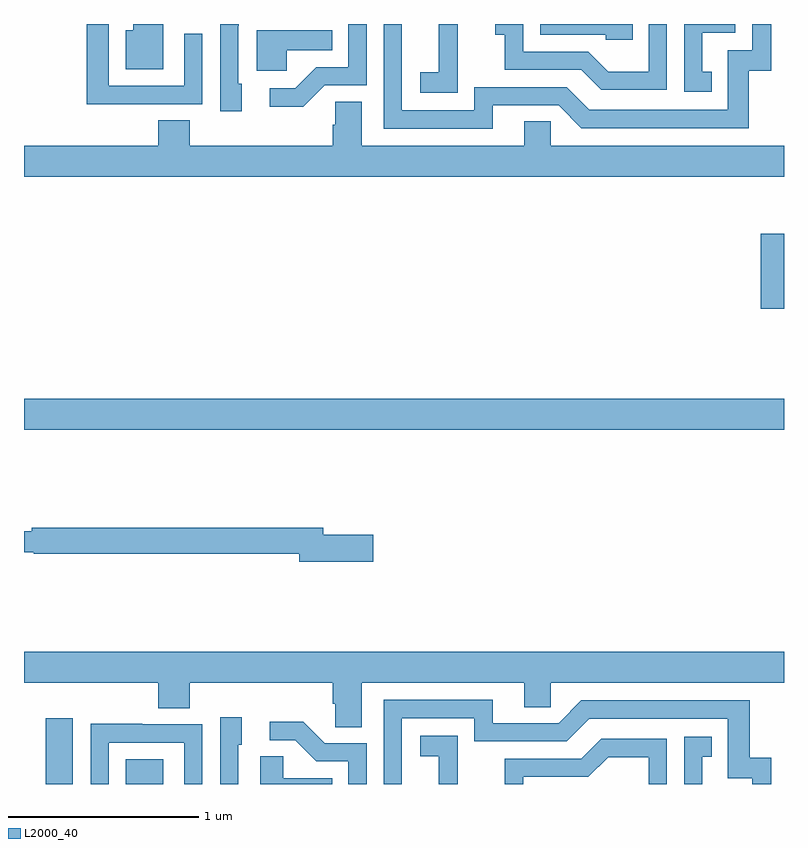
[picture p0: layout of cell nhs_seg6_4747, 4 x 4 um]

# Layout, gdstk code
import gdstk
lib = gdstk.Library(unit=1e-6, precision=1e-09)
def R(c, l, rs):  # rectangles x0, y0, x1, y1
    for r in rs: c.add(gdstk.rectangle(r[:2], r[2:], *l))
def P(c, l, *ps):  # polygons
    for p in ps: c.add(gdstk.Polygon(p, *l))
L2000_40 = (2000, 40)

nhs_seg6_4747 = lib.new_cell('nhs_seg6_4747')
R(nhs_seg6_4747, L2000_40, [(393.115,917.5,393.256,917.845), (393.536,917.5,393.733,917.629), (393,919.364,397,919.528), (396.878,920.001,397,920.395)])
P(nhs_seg6_4747, L2000_40, [(396.203,921.5),(395.718,921.5),(395.718,921.444),(396.063,921.444),(396.063,921.417),(396.203,921.417)],
  [(395.283,921.343),(395.282,921.343),(395.282,921.5),(395.184,921.5),(395.184,921.476),(395.183,921.476),(395.183,921.247),(395.085,921.247),(395.085,921.137),(395.283,921.137)],
  [(396.62,921.249),(396.571,921.249),(396.571,921.453),(396.744,921.453),(396.744,921.5),(396.474,921.5),(396.474,921.144),(396.62,921.144)],
  [(394.584,921.177),(394.803,921.177),(394.803,921.5),(394.707,921.5),(394.707,921.273),(394.538,921.273),(394.427,921.162),(394.293,921.162),(394.293,921.065),(394.471,921.065)],
  [(393.733,921.5),(393.575,921.5),(393.575,921.466),(393.536,921.466),(393.536,921.263),(393.733,921.263)],
  [(396.384,921.5),(396.288,921.5),(396.288,921.25),(396.074,921.25),(395.97,921.354),(395.628,921.354),(395.628,921.5),(395.481,921.5),(395.481,921.443),(395.53,921.443),(395.53,921.258),(395.933,921.258),(396.038,921.153),(396.384,921.153)],
  [(394.147,921.186),(394.128,921.186),(394.128,921.49),(394.129,921.49),(394.129,921.5),(394.032,921.5),(394.032,921.042),(394.147,921.042)],
  [(393.623,921.078),(393.939,921.078),(393.939,921.448),(393.843,921.448),(393.843,921.174),(393.447,921.174),(393.447,921.5),(393.331,921.5),(393.331,921.077),(393.623,921.077)],
  [(395.467,921.072),(395.814,921.072),(395.934,920.952),(396.814,920.952),(396.814,921.255),(396.932,921.255),(396.932,921.5),(396.834,921.5),(396.834,921.363),(396.705,921.363),(396.705,921.048),(395.976,921.048),(395.856,921.168),(395.37,921.168),(395.37,921.045),(394.989,921.045),(394.989,921.5),(394.893,921.5),(394.893,920.949),(395.467,920.949)],
  [(394.383,921.362),(394.622,921.362),(394.622,921.466),(394.226,921.466),(394.226,921.254),(394.383,921.254)],
  [(397,920.86),(395.772,920.86),(395.772,920.987),(395.633,920.987),(395.633,920.86),(394.777,920.86),(394.777,921.092),(394.638,921.092),(394.638,920.969),(394.625,920.969),(394.625,920.86),(393.872,920.86),(393.872,920.993),(393.707,920.993),(393.707,920.86),(393,920.86),(393,920.696),(397,920.696)],
  [(394.837,918.812),(394.576,918.812),(394.576,918.848),(393.04,918.848),(393.04,918.829),(393,918.829),(393,918.72),(393.052,918.72),(393.052,918.712),(394.448,918.712),(394.448,918.67),(394.837,918.67)],
  [(394.777,918.032),(395.633,918.032),(395.633,917.905),(395.772,917.905),(395.772,918.032),(397,918.032),(397,918.196),(393,918.196),(393,918.032),(393.707,918.032),(393.707,917.899),(393.872,917.899),(393.872,918.032),(394.625,918.032),(394.625,917.923),(394.638,917.923),(394.638,917.8),(394.777,917.8)],
  [(394.989,917.847),(395.37,917.847),(395.37,917.724),(395.856,917.724),(395.976,917.844),(396.705,917.844),(396.705,917.529),(396.834,917.529),(396.834,917.5),(396.932,917.5),(396.932,917.638),(396.821,917.638),(396.821,917.94),(395.934,917.94),(395.814,917.82),(395.467,917.82),(395.467,917.943),(394.893,917.943),(394.893,917.5),(394.989,917.5)],
  [(394.128,917.706),(394.147,917.706),(394.147,917.851),(394.032,917.851),(394.032,917.5),(394.128,917.5)],
  [(394.803,917.715),(394.584,917.715),(394.471,917.828),(394.293,917.828),(394.293,917.73),(394.427,917.73),(394.538,917.619),(394.707,917.619),(394.707,917.5),(394.803,917.5)],
  [(393.447,917.718),(393.843,917.718),(393.843,917.5),(393.939,917.5),(393.939,917.814),(393.623,917.814),(393.623,917.816),(393.351,917.816),(393.351,917.5),(393.447,917.5)],
  [(395.282,917.549),(395.283,917.549),(395.283,917.755),(395.085,917.755),(395.085,917.645),(395.183,917.645),(395.183,917.5),(395.282,917.5)],
  [(396.571,917.643),(396.62,917.643),(396.62,917.749),(396.474,917.749),(396.474,917.5),(396.571,917.5)],
  [(395.628,917.538),(395.97,917.538),(396.074,917.642),(396.288,917.642),(396.288,917.5),(396.384,917.5),(396.384,917.739),(396.038,917.739),(395.933,917.634),(395.53,917.634),(395.53,917.5),(395.628,917.5)],
  [(394.622,917.53),(394.365,917.53),(394.365,917.645),(394.244,917.645),(394.244,917.5),(394.622,917.5)])

lib.write_gds('nhs_seg6_4747.gds')
